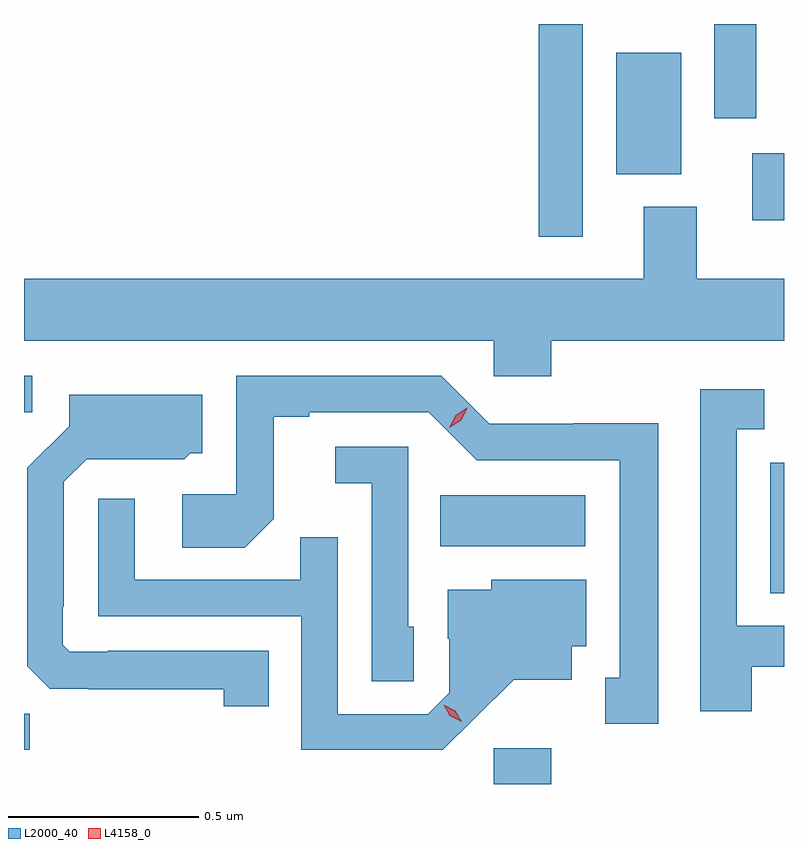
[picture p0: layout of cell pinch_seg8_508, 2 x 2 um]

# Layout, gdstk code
import gdstk
lib = gdstk.Library(unit=1e-6, precision=1e-09)
def R(c, l, rs):  # rectangles x0, y0, x1, y1
    for r in rs: c.add(gdstk.rectangle(r[:2], r[2:], *l))
def P(c, l, *ps):  # polygons
    for p in ps: c.add(gdstk.Polygon(p, *l))
L2000_40 = (2000, 40)
L4158_0 = (4158, 0)

pinch_seg8_508 = lib.new_cell('pinch_seg8_508')
R(pinch_seg8_508, L2000_40, [(202.776,1145.97,202.928,1146.064), (201.54,1146.06,201.555,1146.155), (203.504,1146.472,203.54,1146.816), (202.636,1146.596,203.017,1146.73), (201.54,1146.948,201.562,1147.044), (202.894,1147.41,203.01,1147.97), (203.456,1147.454,203.54,1147.63), (203.099,1147.574,203.269,1147.894), (203.357,1147.722,203.467,1147.97)])
P(pinch_seg8_508, L2000_40, [(202.928,1147.136),(203.54,1147.136),(203.54,1147.3),(203.311,1147.3),(203.311,1147.489),(203.171,1147.489),(203.171,1147.3),(201.54,1147.3),(201.54,1147.136),(202.776,1147.136),(202.776,1147.043),(202.928,1147.043)],
  [(203.209,1146.92),(202.986,1146.92),(202.986,1146.918),(202.764,1146.918),(202.638,1147.044),(202.098,1147.044),(202.098,1146.732),(201.957,1146.732),(201.957,1146.592),(202.121,1146.592),(202.197,1146.668),(202.197,1146.936),(202.291,1146.936),(202.291,1146.948),(202.605,1146.948),(202.731,1146.822),(203.108,1146.822),(203.108,1146.249),(203.069,1146.249),(203.069,1146.129),(203.209,1146.129)],
  [(203.455,1146.279),(203.54,1146.279),(203.54,1146.387),(203.415,1146.387),(203.415,1146.903),(203.488,1146.903),(203.488,1147.009),(203.319,1147.009),(203.319,1146.162),(203.455,1146.162)],
  [(202.184,1146.321),(201.76,1146.321),(201.76,1146.318),(201.66,1146.318),(201.642,1146.336),(201.642,1146.436),(201.645,1146.436),(201.645,1146.765),(201.705,1146.825),(201.828,1146.825),(201.828,1146.824),(201.962,1146.824),(201.978,1146.84),(202.009,1146.84),(202.009,1146.994),(201.659,1146.994),(201.659,1146.912),(201.549,1146.802),(201.549,1146.28),(201.608,1146.221),(201.709,1146.221),(201.709,1146.22),(202.066,1146.22),(202.066,1146.174),(202.184,1146.174)],
  [(202.566,1146.384),(202.551,1146.384),(202.551,1146.858),(202.359,1146.858),(202.359,1146.761),(202.455,1146.761),(202.455,1146.241),(202.566,1146.241)],
  [(202.726,1146.143),(202.829,1146.245),(202.981,1146.245),(202.981,1146.332),(203.02,1146.332),(203.02,1146.508),(202.77,1146.508),(202.77,1146.481),(202.655,1146.481),(202.655,1146.352),(202.659,1146.352),(202.659,1146.21),(202.602,1146.153),(202.365,1146.153),(202.365,1146.62),(202.267,1146.62),(202.267,1146.507),(201.831,1146.507),(201.831,1146.721),(201.735,1146.721),(201.735,1146.411),(202.269,1146.411),(202.269,1146.06),(202.642,1146.06)])
P(pinch_seg8_508, L4158_0, [(202.692,1146.134),(202.661,1146.149),(202.644,1146.178),(202.644,1146.178),(202.644,1146.178),(202.675,1146.163),(202.692,1146.134),(202.692,1146.134)],
  [(202.659,1146.908),(202.659,1146.908),(202.676,1146.941),(202.707,1146.96),(202.707,1146.96),(202.707,1146.96),(202.69,1146.927),(202.659,1146.908)])

lib.write_gds('pinch_seg8_508.gds')
